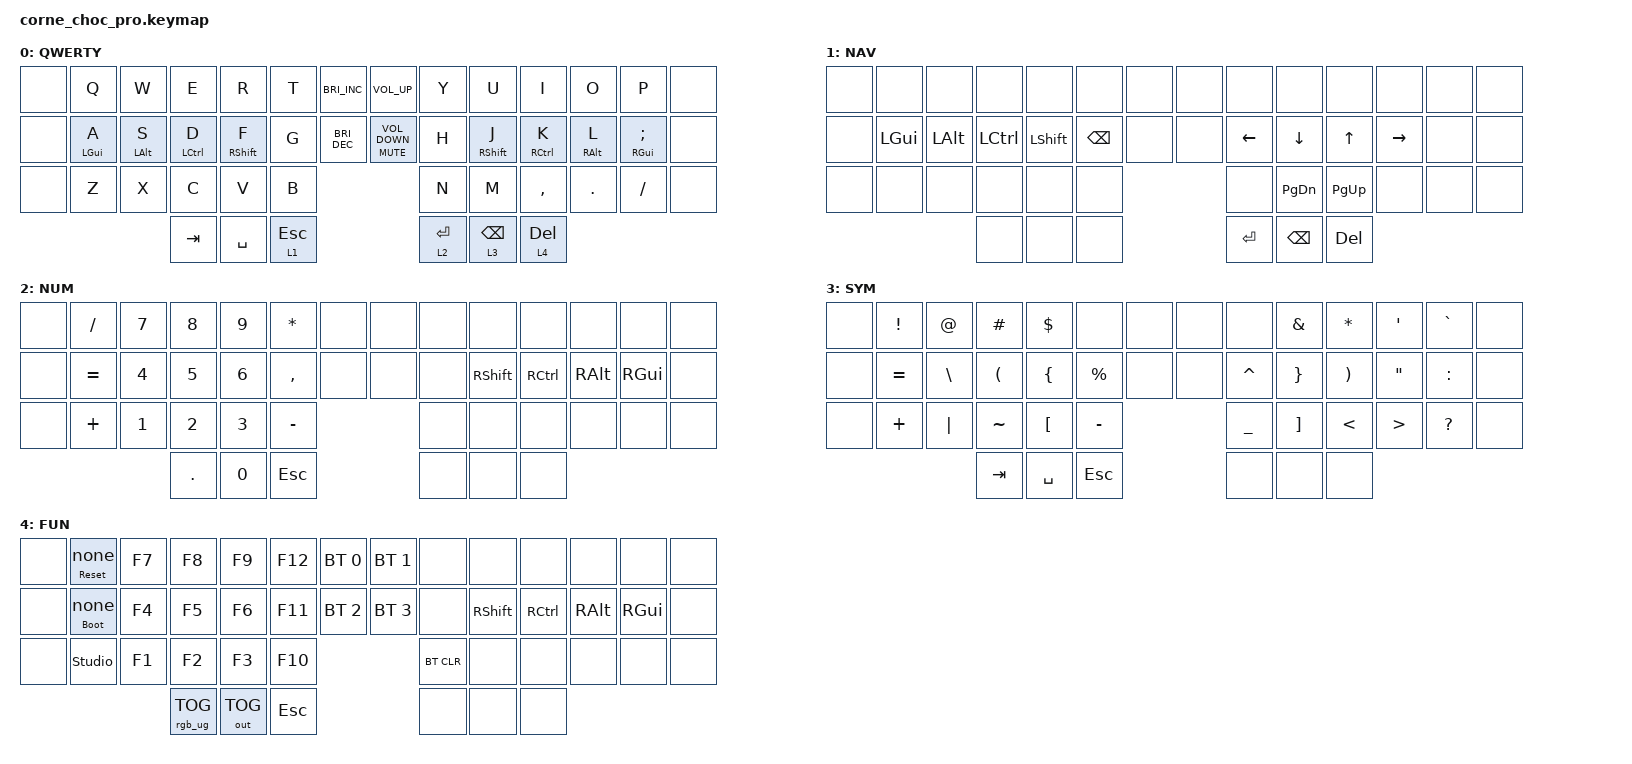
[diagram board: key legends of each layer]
/*
 * Copyright (c) 2020 The ZMK Contributors
 *
 * SPDX-License-Identifier: MIT
 */

#include <behaviors.dtsi>
#include <dt-bindings/zmk/bt.h>
#include <dt-bindings/zmk/keys.h>
#include <dt-bindings/zmk/outputs.h>
#include <dt-bindings/zmk/rgb.h>

/ {
    chosen { zmk,physical-layout = &default_layout; };
};

/ {
    combos { compatible = "zmk,combos"; };

    behaviors {
        hrr: hrr {
            compatible = "zmk,behavior-hold-tap";
            label = "Home Row Right";
            bindings = <&kp>, <&kp>;

            #binding-cells = <2>;
            tapping-term-ms = <280>;
            flavor = "balanced";
            require-prior-idle-ms = <150>;
            hold-trigger-key-positions = <1 2 3 4 5 15 16 17 18 19 29 30 31 32 33 40 42 41>;
            quick-tap-ms = <175>;
            hold-trigger-on-release;
        };

        hrl: hrl {
            compatible = "zmk,behavior-hold-tap";
            label = "Home Row Left";
            bindings = <&kp>, <&kp>;

            #binding-cells = <2>;
            tapping-term-ms = <280>;
            flavor = "balanced";
            require-prior-idle-ms = <150>;
            hold-trigger-key-positions = <8 9 10 11 12 22 23 24 25 26 34 35 36 37 38 44 45 43>;
            quick-tap-ms = <175>;
            hold-trigger-on-release;
        };

        hold_reset: lp {
            compatible = "zmk,behavior-hold-tap";
            label = "Long Press";
            bindings = <&sys_reset>, <&none>;

            #binding-cells = <2>;
            flavor = "hold-preferred";
            tapping-term-ms = <2000>;
            require-prior-idle-ms = <500>;
        };

        hold_boot: hold_boot {
            compatible = "zmk,behavior-hold-tap";
            label = "HOLD_BOOT";
            bindings = <&bootloader>, <&none>;

            #binding-cells = <2>;
            flavor = "hold-preferred";
            tapping-term-ms = <2000>;
            require-prior-idle-ms = <500>;
        };
    };

    keymap {
        compatible = "zmk,keymap";

        default {
            display-name = "QWERTY";

            // --------------------------------------------------------------------------------
            // |  TAB |  Q  |  W  |  E  |  R  |  T  |  MUTE |  PP   |  Y  |  U   |  I  |  O  |  P  | BSPC |
            // | CTRL |  A  |  S  |  D  |  F  |  G  |  LALT |  RALT |  H  |  J   |  K  |  L  |  ;  |  '   |
            // | SHFT |  Z  |  X  |  C  |  V  |  B  |               |  N  |  M   |  ,  |  .  |  /  | ESC  |
            //                    | GUI | LWR | SPC |               | ENT | RSE  | ALT |

            bindings = <
&none  &kp Q            &kp W            &kp E                &kp R               &kp T         &kp C_BRIGHTNESS_INC  &kp C_VOLUME_UP           &kp Y        &kp U               &kp I                 &kp O             &kp P                     &none
&none  &hrl LEFT_GUI A  &hrl LEFT_ALT S  &hrl LEFT_CONTROL D  &hrl RIGHT_SHIFT F  &kp G         &kp C_BRIGHTNESS_DEC  &mt C_MUTE C_VOLUME_DOWN  &kp H        &hrr RIGHT_SHIFT J  &hrr RIGHT_CONTROL K  &hrr RIGHT_ALT L  &hrr RIGHT_GUI SEMICOLON  &none
&none  &kp Z            &kp X            &kp C                &kp V               &kp B                                                         &kp N        &kp M               &kp COMMA             &kp DOT           &kp SLASH                 &none
                                         &kp TAB              &kp SPACE           &lt 1 ESCAPE                                                  &lt 2 ENTER  &lt 3 BACKSPACE     &lt 4 DELETE
            >;
        };

        navigation {
            display-name = "NAV";

            // -----------------------------------------------------------------------------------------
            // |  TAB |  !  |  @  |  #  |  $  |  %  | LCTRL | RCTRL |  ^  |  &  |  *  |  (  |  )  | BSPC |
            // | CTRL |     |     |     |     |     |  LALT | RALT  |  -  |  =  |  [  |  ]  |  \  |  `   |
            // | SHFT |     |     |     |     |     |               |  _  |  +  |  {  |  }  | "|" |  ~   |
            //                    | GUI |     | SPC |               | ENT |     | ALT |

            bindings = <
&none  &none         &none         &none             &none           &none          &none  &none  &none           &none           &none         &none            &none  &none
&none  &kp LEFT_GUI  &kp LEFT_ALT  &kp LEFT_CONTROL  &kp LEFT_SHIFT  &kp BACKSPACE  &none  &none  &kp LEFT_ARROW  &kp DOWN_ARROW  &kp UP_ARROW  &kp RIGHT_ARROW  &none  &none
&none  &none         &none         &none             &none           &none                        &none           &kp PAGE_DOWN   &kp PAGE_UP   &none            &none  &none
                                   &none             &none           &none                        &kp ENTER       &kp BACKSPACE   &kp DELETE
            >;
        };

        number {
            display-name = "NUM";

            // -----------------------------------------------------------------------------------------
            // |  TAB |  1  |  2  |  3  |  4  |  5    |  LCTRL | RCTRL |  6  |  7  |  8  |  9  |  0  | BSPC |
            // | CTRL | BT1 | BT2 | BT3 | BT4 | BT5   |  LALT  | RALT  | LFT | DWN |  UP | RGT |     |      |
            // | SHFT | BTCR| RGB | RST | BOOT| Unlock|        |       |     |     |     |     |     |      |
            //                    | GUI |     | SPC   |        | ENT   |     | ALT |

            bindings = <
&none  &kp SLASH  &kp NUMBER_7  &kp NUMBER_8  &kp NUMBER_9  &kp ASTERISK  &none  &none  &none  &none            &none              &none          &none          &none
&none  &kp EQUAL  &kp NUMBER_4  &kp NUMBER_5  &kp NUMBER_6  &kp COMMA     &none  &none  &none  &kp RIGHT_SHIFT  &kp RIGHT_CONTROL  &kp RIGHT_ALT  &kp RIGHT_GUI  &none
&none  &kp PLUS   &kp NUMBER_1  &kp NUMBER_2  &kp NUMBER_3  &kp MINUS                   &none  &none            &none              &none          &none          &none
                                &kp DOT       &kp NUMBER_0  &kp ESCAPE                  &none  &none            &none
            >;
        };

        symbol {
            display-name = "SYM";
            bindings = <
&none  &kp EXCLAMATION  &kp AT_SIGN    &kp HASH              &kp DOLLAR        &none        &none  &none  &none           &kp AMPERSAND      &kp ASTERISK           &kp SINGLE_QUOTE   &kp GRAVE     &none
&none  &kp EQUAL        &kp BACKSLASH  &kp LEFT_PARENTHESIS  &kp LEFT_BRACE    &kp PERCENT  &none  &none  &kp CARET       &kp RIGHT_BRACE    &kp RIGHT_PARENTHESIS  &kp DOUBLE_QUOTES  &kp COLON     &none
&none  &kp PLUS         &kp PIPE       &kp TILDE             &kp LEFT_BRACKET  &kp MINUS                  &kp UNDERSCORE  &kp RIGHT_BRACKET  &kp LESS_THAN          &kp GREATER_THAN   &kp QUESTION  &none
                                       &kp TAB               &kp SPACE         &kp ESCAPE                 &none           &none              &none
            >;
        };

        fun {
            display-name = "FUN";
            bindings = <
&none  &hold_reset 0 0  &kp F7  &kp F8           &kp F9        &kp F12     &bt BT_SEL 0  &bt BT_SEL 1  &none       &none            &none              &none          &none          &none
&none  &hold_boot 0 0   &kp F4  &kp F5           &kp F6        &kp F11     &bt BT_SEL 2  &bt BT_SEL 3  &none       &kp RIGHT_SHIFT  &kp RIGHT_CONTROL  &kp RIGHT_ALT  &kp RIGHT_GUI  &none
&none  &studio_unlock   &kp F1  &kp F2           &kp F3        &kp F10                                 &bt BT_CLR  &none            &none              &none          &none          &none
                                &rgb_ug RGB_TOG  &out OUT_TOG  &kp ESCAPE                              &none       &none            &none
            >;
        };
    };
};
